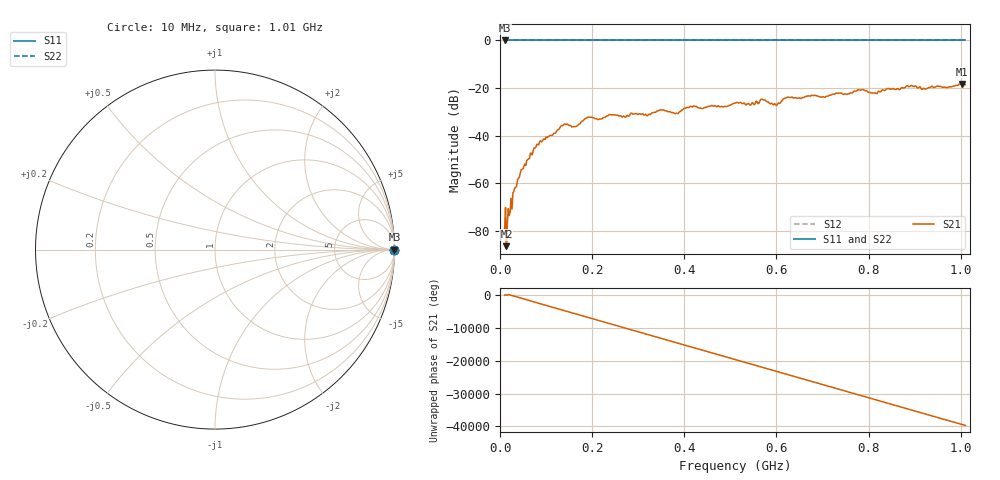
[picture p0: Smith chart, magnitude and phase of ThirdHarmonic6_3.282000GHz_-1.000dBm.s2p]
! 8/17/2025 10:11:05 AM
! C:\ANRITSUVNA\TEMP\TEMP.S2P
! CHANNEL.1
! TR.MEASUREMENT
! RAW.DATA
! RF.CORRECTION.OFF
! AVERAGING.OFF
! IF.BANDWIDTH: 5KHZ
! SWEEPTYPE:  FREQ.SWEEP(Linear)
! Reference Plane Port Info
! PORT:  PORT1  PORT2
! DISTANCE:  0  m  0  m
! TIME:  0  s  0  s
! PHASE.OFFSET:  0  deg.  0  deg.
! LOSS:  0  dB  0  dB
! REF.LOSS:  0  dB  0  dB
! REF.FREQ:  0  Hz  0  Hz
! Power Info
! POWER:  -20  dBm  -20  dBm
! EFF.POWER:  -20  dBm  -20  dBm
! SOURCE.ATTEN:  0  dB  0  dB
! TEST.ATTEN:  0  dB  0  dB
# GHZ S RI R 50.0
! FREQ.GHZ  S11RE  S11IM  S21RE  S21IM  S12RE  S12IM  S22RE  S22IM
!; PortSelection: Port_12
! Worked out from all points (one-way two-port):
!   501 points, 10 MHz to 1.01 GHz, reference 50 ohm
!   highest |S21| = -18.20 dB at 1.002 GHz (marker M1); lowest = -86.3 dB at 14 MHz (marker M2)
!   lowest |S11| = 0.0 dB at 10 MHz (marker M3)
!   |S11| at or under -10 dB: nowhere
!   |S22| runs from 0.0 to 0.0 dB; largest |S21 - S12| = 1.1
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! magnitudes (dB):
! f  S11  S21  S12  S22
! 10 MHz  0.0  -79.0  0.0  0.0
! 14 MHz  0.0  -86.3  0.0  0.0
! 18 MHz  0.0  -70.6  0.0  0.0
! 28 MHz  0.0  -63.9  0.0  0.0
! 42 MHz  0.0  -57.4  0.0  0.0
! 78 MHz  0.0  -44.7  0.0  0.0
! 136 MHz  0.0  -35.7  0.0  0.0
! 162 MHz  0.0  -36.2  0.0  0.0
! 178 MHz  0.0  -33.9  0.0  0.0
! 194 MHz  0.0  -32.2  0.0  0.0
! 322 MHz  0.0  -31.1  0.0  0.0
! 344 MHz  0.0  -29.5  0.0  0.0
! 384 MHz  0.0  -30.5  0.0  0.0
! 416 MHz  0.0  -27.9  0.0  0.0
! 510 MHz  0.0  -26.3  0.0  0.0
! 570 MHz  0.0  -24.8  0.0  0.0
! 598 MHz  0.0  -26.9  0.0  0.0
! 622 MHz  0.0  -24.0  0.0  0.0
! 678 MHz  0.0  -23.1  0.0  0.0
! 844 MHz  0.0  -20.1  0.0  0.0
! 1.002 GHz  0.0  -18.2  0.0  0.0
! 1.01 GHz  0.0  -18.6  0.0  0.0
